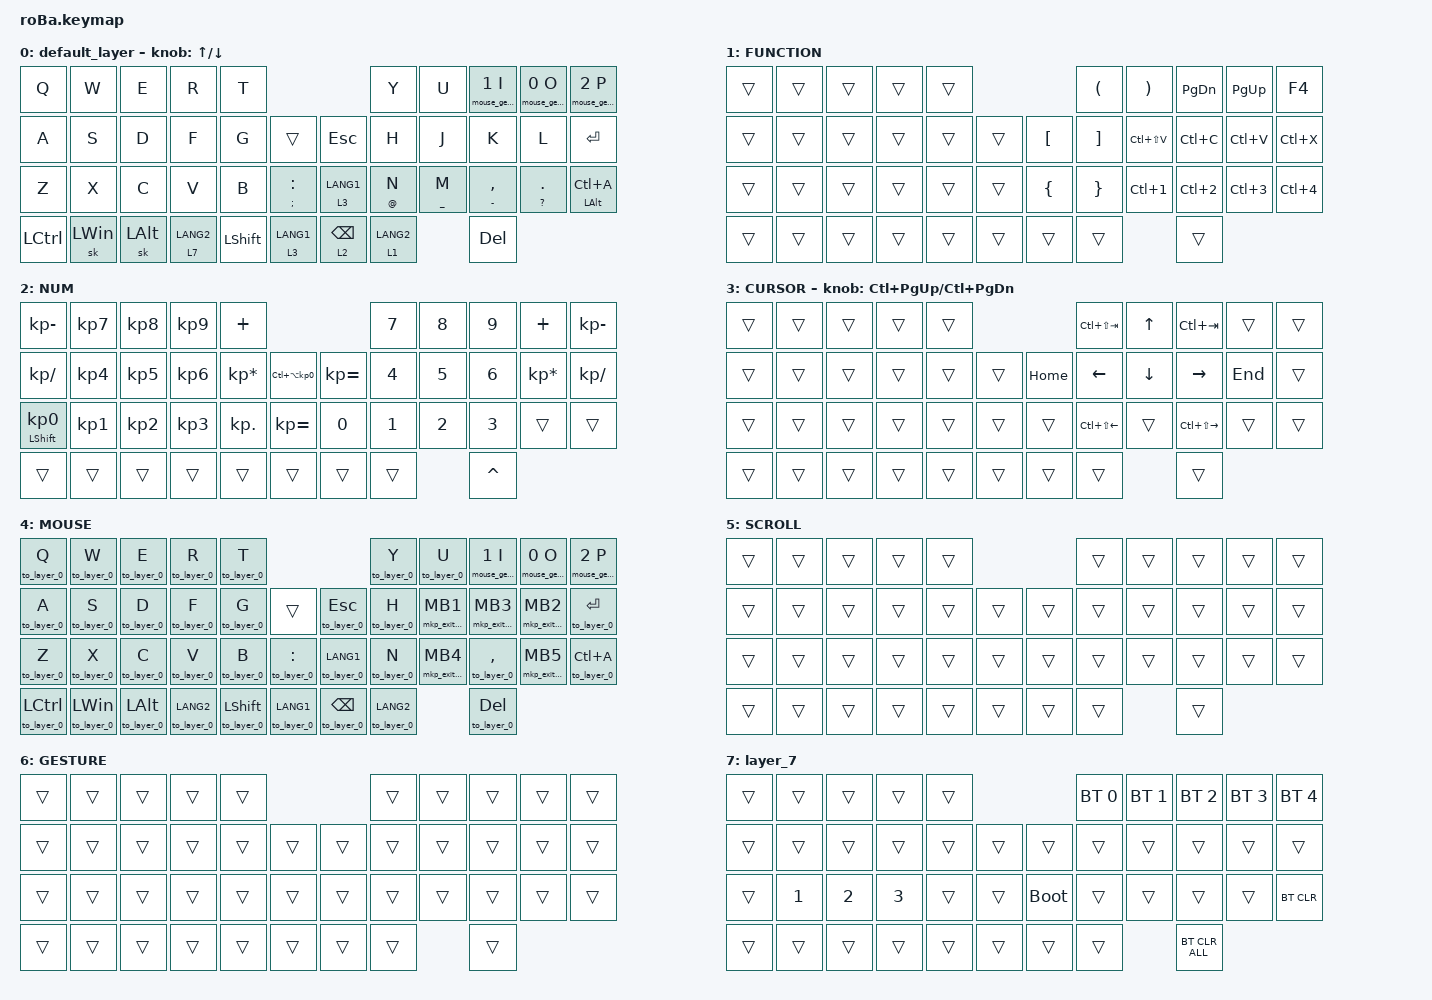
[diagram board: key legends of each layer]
#include <behaviors.dtsi>
#include <dt-bindings/zmk/bt.h>
#include <dt-bindings/zmk/keys.h>
#include <dt-bindings/zmk/pointing.h>
#include <mouse-gesture.dtsi>

&mt {
    flavor = "balanced";
    quick-tap-ms = <0>;
};

&sl {
    release-after-ms = <10000>;
};

&mouse_gesture_kp {
    tapping-term-ms = <300>;
    flavor = "hold-preferred";
};

&lt {
    tapping-term-ms = <300>;
    flavor = "hold-preferred";
};

// Gesture instance 0: activated by holding O (&mouse_gesture_kp 0 O)
// To add more instances, copy this block, change instance-id and the gestures,
// then add the new node to input-processors in roBa_R.overlay.
/ {
    zip_mouse_gesture_0: zip_mouse_gesture_0 {
        compatible = "zmk,input-processor-mouse-gesture";
        #input-processor-cells = <0>;
        instance-id = <0>;
        enable-eager-mode;

        desktop_left {
            pattern = <GESTURE_LEFT>;
            bindings = <&kp LC(LG(LEFT_ARROW))>;
        };

        desktop_right {
            pattern = <GESTURE_RIGHT>;
            bindings = <&kp LC(LG(RIGHT_ARROW))>;
        };

        mission_ctrl {
            pattern = <GESTURE_UP>;
            bindings = <&kp LG(TAB)>;
        };

        close_tab {
            pattern = <GESTURE_DOWN>;
            bindings = <&kp LC(W)>;
        };
    };
};

// Gesture instance 2: activated by holding P (&mouse_gesture_kp 2 P)
/ {
    zip_mouse_gesture_2: zip_mouse_gesture_2 {
        compatible = "zmk,input-processor-mouse-gesture";
        #input-processor-cells = <0>;
        instance-id = <2>;
        enable-eager-mode;

        p_left {
            pattern = <GESTURE_LEFT>;
            bindings = <&kp LC(LG(LEFT_ARROW))>;
        };

        p_up {
            pattern = <GESTURE_UP>;
            bindings = <&kp LG(TAB)>;
        };

        p_right {
            pattern = <GESTURE_RIGHT>;
            bindings = <&kp LC(LG(RIGHT_ARROW))>;
        };

        p_left_down {
            pattern = <GESTURE_LEFT GESTURE_DOWN>;
            bindings = <&kp LC(N1)>;
        };

        p_right_down {
            pattern = <GESTURE_RIGHT GESTURE_DOWN>;
            bindings = <&kp LC(N4)>;
        };

        p_down_left {
            pattern = <GESTURE_DOWN GESTURE_LEFT>;
            bindings = <&kp LC(N2)>;
        };

        p_down_right {
            pattern = <GESTURE_DOWN GESTURE_RIGHT>;
            bindings = <&kp LC(N3)>;
        };
    };
};

// Gesture instance 1: activated by holding I (&mouse_gesture_kp 1 I)
/ {
    zip_mouse_gesture_1: zip_mouse_gesture_1 {
        compatible = "zmk,input-processor-mouse-gesture";
        #input-processor-cells = <0>;
        instance-id = <1>;
        enable-eager-mode;

        tab_prev {
            pattern = <GESTURE_LEFT>;
            bindings = <&kp LC(LS(TAB))>;
        };

        tab_next {
            pattern = <GESTURE_RIGHT>;
            bindings = <&kp LC(TAB)>;
        };

        close_tab_i {
            pattern = <GESTURE_DOWN>;
            bindings = <&kp LC(W)>;
        };

        reopen_tab {
            pattern = <GESTURE_UP>;
            bindings = <&kp LC(LS(T))>;
        };
    };
};

&trackball {
    automouse-layer = <4>;
    scroll-layers = <5>;

    // arrows {
    //     layers = <4>;
    //     bindings =
    //         <&kp RIGHT_ARROW>,
    //         <&kp LEFT_ARROW>,
    //         <&kp UP_ARROW>,
    //         <&kp DOWN_ARROW>;
    //     tick = <10>;
    //     wait-ms = <5>;
    //     tap-ms = <5>;
    // };
};

/ {
    combos {
        compatible = "zmk,combos";

        tab {
            bindings = <&kp TAB>;
            key-positions = <11 12>;
        };

        shift_tab {
            bindings = <&kp LS(TAB)>;
            key-positions = <12 13>;
        };

        muhennkann {
            bindings = <&to_layer_0 LANG1>;
            key-positions = <11 10>;
        };

        double_quotation {
            bindings = <&kp DOUBLE_QUOTES>;
            key-positions = <20 21>;
        };

        eq {
            bindings = <&kp EQUAL>;
            key-positions = <24 25>;
        };

        space_combo {
            bindings = <&kp SPACE>;
            key-positions = <40 41>;
        };

        undo {
            bindings = <&kp LC(Z)>;
            key-positions = <29 30>;
        };

    };

    macros {
        to_layer_0: to_layer_0 {
            compatible = "zmk,behavior-macro-one-param";
            #binding-cells = <1>;
            bindings = <&to 0 &macro_param_1to1 &kp MACRO_PLACEHOLDER>;
            label = "TO_LAYER_0";
        };

        mb1_to_layer_0: mb1_to_layer_0 {
            compatible = "zmk,behavior-macro";
            #binding-cells = <0>;
            bindings = <&mkp MB1>, <&to 0>;
            label = "MB1_TO_LAYER_0";
        };

        mb2_to_layer_0: mb2_to_layer_0 {
            compatible = "zmk,behavior-macro";
            #binding-cells = <0>;
            bindings = <&mkp MB2>, <&to 0>;
            label = "MB2_TO_LAYER_0";
        };

        mb3_to_layer_0: mb3_to_layer_0 {
            compatible = "zmk,behavior-macro";
            #binding-cells = <0>;
            bindings = <&mkp MB3>, <&to 0>;
            label = "MB3_TO_LAYER_0";
        };

        mkp_exit_AML: mkp_exit_AML {
            compatible = "zmk,behavior-macro-one-param";
            #binding-cells = <1>;
            bindings =
                <&macro_press>,
                <&macro_param_1to1 &mkp MACRO_PLACEHOLDER>,
                <&macro_pause_for_release>,
                <&macro_release>,
                <&macro_param_1to1 &mkp MACRO_PLACEHOLDER>,
                <&macro_tap>,
                <&to 0>,
                <&sticky_layer_for_mouse 4>;
            label = "MKP_EXIT_AML";
        };

        mkp_exit_scroll: mkp_exit_scroll {
            compatible = "zmk,behavior-macro-one-param";
            #binding-cells = <1>;
            bindings =
                <&macro_press>,
                <&macro_param_1to1 &mkp MACRO_PLACEHOLDER>,
                <&macro_pause_for_release>,
                <&macro_release>,
                <&macro_param_1to1 &mkp MACRO_PLACEHOLDER>,
                <&macro_tap>,
                <&to 0>,
                <&sticky_layer_for_mouse 5>;
            label = "MKP_EXIT_SCROLL";
        };
    };

    behaviors {
        sticky_layer_for_mouse: sticky_layer_for_mouse {
            compatible = "zmk,behavior-sticky-key";
            #binding-cells = <1>;
            bindings = <&mo>;
            release-after-ms = <200>;
            quick-release;
            ignore-modifiers;
        };

        mb_tap: mb_tap {
            compatible = "zmk,behavior-hold-tap";
            label = "MB_TAP";
            bindings = <&mkp>, <&kp>;
            #binding-cells = <2>;
            tapping-term-ms = <200>;
            flavor = "balanced";
        };

        to_layer_ht: to_layer_ht {
            compatible = "zmk,behavior-hold-tap";
            label = "TO_LAYER_HT";
            bindings = <&to>, <&kp>;
            #binding-cells = <2>;
            tapping-term-ms = <500>;
            flavor = "hold-preferred";
        };

        lt_to_layer_0: lt_to_layer_0 {
            compatible = "zmk,behavior-hold-tap";
            label = "LAYER_TAP_TO_0";
            bindings = <&mo>, <&to_layer_0>;

            #binding-cells = <2>;
            tapping-term-ms = <200>;
        };

        ctrl_shift: ctrl_shift {
            compatible = "zmk,behavior-hold-tap";
            label = "CTRL_SHIFT";
            #binding-cells = <2>;
            flavor = "balanced";
            tapping-term-ms = <200>;
            bindings = <&kp>, <&kp>;
        };
    };

    keymap {
        compatible = "zmk,keymap";

        default_layer {
            bindings = <
&kp Q             &kp W         &kp E         &kp R                   &kp T                                                   &kp Y        &kp U             &mouse_gesture_kp 1 I  &mouse_gesture_kp 0 O  &mouse_gesture_kp 2 P
&kp A              &kp S         &kp D         &kp F                   &kp G        &trans                       &kp ESCAPE    &kp H        &kp J               &kp K            &kp L               &kp ENTER
&kp Z              &kp X         &kp C         &kp V                   &kp B        &mt SEMICOLON COLON         &lt 3 LANG1    &mt AT N      &mt UNDERSCORE M    &mt MINUS COMMA    &mt QUESTION DOT       &mt LALT LC(A)
&kp LCTRL  &sk LEFT_WIN  &sk LEFT_ALT  &lt_to_layer_0 7 LANG2  &kp LSHIFT  &lt_to_layer_0 3 LANG1      &lt 2 BACKSPACE  &lt 1 LANG2                              &kp DEL
            >;

            sensor-bindings = <&inc_dec_kp UP DOWN>;
        };

        FUNCTION {
            bindings = <
&trans  &trans  &trans  &trans  &trans                       &kp LPAR  &kp RPAR  &kp PG_DN  &kp PG_UP  &kp F4
&trans  &trans  &trans  &trans  &trans  &trans      &kp LBKT   &kp RBKT  &kp LC(LS(V))  &kp LC(C)  &kp LC(V)  &kp LC(X)
&trans  &trans  &trans  &trans  &trans  &trans      &kp LBRC   &kp RBRC    &kp LC(N1)  &kp LC(N2)  &kp LC(N3)  &kp LC(N4)
&trans  &trans  &trans  &trans  &trans  &trans      &trans   &trans                          &trans
            >;
        };

        NUM {
            bindings = <
&kp KP_MINUS                &kp KP_NUMBER_7  &kp KP_NUMBER_8  &kp KP_NUMBER_9  &kp PLUS                                                  &kp N7            &kp N8             &kp N9          &kp PLUS              &kp KP_MINUS
&kp KP_SLASH                &kp KP_NUMBER_4  &kp KP_NUMBER_5  &kp KP_NUMBER_6  &kp KP_ASTERISK  &kp LC(LA(KP_NUMBER_0))      &kp KP_EQUAL    &kp N4            &kp N5             &kp N6          &kp KP_ASTERISK       &kp KP_SLASH
&mt LEFT_SHIFT KP_NUMBER_0  &kp KP_NUMBER_1  &kp KP_NUMBER_2  &kp KP_NUMBER_3  &kp KP_DOT       &kp KP_EQUAL                 &kp N0          &kp N1            &kp N2             &kp N3          &trans                   &trans
&trans                      &trans           &trans           &trans           &trans        &trans                       &trans          &trans                                                                     &kp CARET
            >;
        };

        CURSOR {
            bindings = <
&trans          &trans                  &trans          &trans                   &trans     &kp LC(LS(TAB))  &kp UP_ARROW  &kp LC(TAB)  &trans     &trans
&trans          &trans                  &trans          &trans                   &trans   &trans      &kp HOME  &kp LEFT_ARROW  &kp DOWN_ARROW  &kp RIGHT_ARROW  &kp END  &trans
&trans          &trans                  &trans          &trans                   &trans   &trans      &trans  &kp LC(LS(LEFT_ARROW))  &trans  &kp LC(LS(RIGHT_ARROW))  &trans  &trans
&trans          &trans                  &trans          &trans                   &trans   &trans      &trans  &trans                          &trans
            >;

            sensor-bindings = <&inc_dec_kp LC(PAGE_UP) LC(PAGE_DOWN)>;
        };

        MOUSE {
            bindings = <
&to_layer_0 Q  &to_layer_0 W  &to_layer_0 E  &to_layer_0 R  &to_layer_0 T                                           &to_layer_0 Y  &to_layer_0 U  &mouse_gesture_kp 1 I  &mouse_gesture_kp 0 O  &mouse_gesture_kp 2 P
&to_layer_0 A  &to_layer_0 S  &to_layer_0 D  &to_layer_0 F  &to_layer_0 G  &trans      &to_layer_0 ESCAPE  &to_layer_0 H  &mkp_exit_AML MB1  &mkp_exit_AML MB3  &mkp_exit_scroll MB2  &to_layer_0 ENTER
&to_layer_0 Z  &to_layer_0 X  &to_layer_0 C  &to_layer_0 V  &to_layer_0 B  &to_layer_0 COLON      &to_layer_0 LANG1  &to_layer_0 N  &mkp_exit_AML MB4  &to_layer_0 COMMA  &mkp_exit_AML MB5  &to_layer_0 LC(A)
&to_layer_0 LCTRL  &to_layer_0 LEFT_WIN  &to_layer_0 LEFT_ALT  &to_layer_0 LANG2  &to_layer_0 LSHIFT  &to_layer_0 LANG1      &to_layer_0 BACKSPACE  &to_layer_0 LANG2                                               &to_layer_0 DEL
            >;
        };

        SCROLL {
            bindings = <
&trans  &trans  &trans  &trans  &trans                      &trans  &trans  &trans  &trans  &trans
&trans  &trans  &trans  &trans  &trans  &trans      &trans  &trans  &trans  &trans  &trans  &trans
&trans  &trans  &trans  &trans  &trans  &trans      &trans  &trans  &trans  &trans  &trans  &trans
&trans  &trans  &trans  &trans  &trans  &trans      &trans  &trans                          &trans
            >;
        };

        GESTURE {
            bindings = <
&trans  &trans  &trans  &trans  &trans                      &trans  &trans  &trans  &trans  &trans
&trans  &trans  &trans  &trans  &trans  &trans      &trans  &trans  &trans  &trans  &trans  &trans
&trans  &trans  &trans  &trans  &trans  &trans      &trans  &trans  &trans  &trans  &trans  &trans
&trans  &trans  &trans  &trans  &trans  &trans      &trans  &trans                          &trans
            >;
        };

        layer_7 {
            bindings = <
&trans  &trans        &trans        &trans        &trans                           &bt BT_SEL 0  &bt BT_SEL 1  &bt BT_SEL 2  &bt BT_SEL 3  &bt BT_SEL 4
&trans  &trans        &trans        &trans        &trans  &trans      &trans       &trans        &trans        &trans        &trans        &trans
&trans  &kp NUMBER_1  &kp NUMBER_2  &kp NUMBER_3  &trans  &trans      &bootloader  &trans        &trans        &trans        &trans        &bt BT_CLR
&trans  &trans        &trans        &trans        &trans  &trans      &trans       &trans                                                  &bt BT_CLR_ALL
            >;
        };

    };
};
